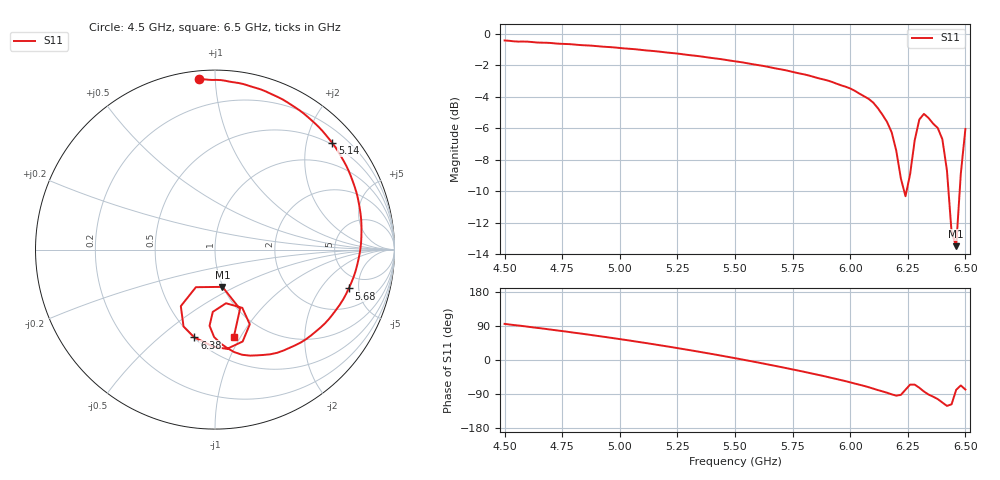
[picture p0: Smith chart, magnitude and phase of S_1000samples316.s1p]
! TOUCHSTONE file generated by CST MICROWAVE STUDIO
! Date and time: Thu Oct 27 18:08:15 2022
! Project name: L.cst
! Parameters = {Di=1.27; Epsilon_r=1.56; InnerDiameter=1.27; Length=2; Lf=10; Lg=60; OuterConductorThickness=0.2921; OuterDiameter=3.6; Wf=3; Wp=41.2; de=1.5; df=6.8; g=0.8; gx=4.03511; gy=4.3543; h=2.34; hf=1.524; px=12.6869; py=14.8479; w=9.7; wx=8.65182; wy=10.4936}
! Header version: 2018
! Port assignment regex: !\s*Touchstone port\s*([0-9]+)\s*=\s*(CST MWS port|CST DS port)\s*([0-9]+|Zmin|Zmax)\s*\(\"(.*)\"\)(\s*mode\s*([0-9]+))?.*
! Touchstone port assignment:
! Touchstone port 1 = CST MWS port 1 ("")
# GHz S DB R 50
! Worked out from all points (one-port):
!   101 points, 4.5 GHz to 6.5 GHz, reference 50 ohm
!   lowest |S11| = -13.5 dB at 6.46 GHz (marker M1), VSWR 1.54, Z = 49.7 - j21.6 ohm
!   |S11| at or under -10 dB: 6.234496 GHz to 6.244416 GHz (9.92 MHz wide, 0.159 % of centre); 6.427 GHz to 6.475 GHz (48.42 MHz wide, 0.751 % of centre)
!   S11 on the Smith chart (normalised r, x): 4.5 GHz: 0.04, +0.91; 5.14 GHz: 0.47, +2.52; 5.68 GHz: 3.56, -3.87; 6.38 GHz: 0.50, -0.66; 6.5 GHz: 0.72, -0.94
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4.5  -0.42 95.3
4.76  -0.64 75.6
5  -0.89 55.1
5.14  -1.08 42.2
5.26  -1.27 30.4
5.38  -1.49 18.0
5.5  -1.74 4.9
5.68  -2.20 -16.2
5.76  -2.45 -26.1
5.9  -2.95 -44.5
6  -3.46 -58.9
6.08  -4.13 -71.7
6.12  -4.72 -79.4
6.16  -5.59 -86.4
6.2  -7.42 -94.1
6.22  -9.19 -92.0
6.24  -10.31 -78.4
6.26  -8.91 -64.9
6.28  -6.76 -65.0
6.3  -5.44 -73.3
6.32  -5.08 -83.1
6.38  -5.98 -103.2
6.4  -6.69 -112.2
6.42  -8.68 -121.2
6.44  -12.58 -116.9
6.46  -13.48 -78.7
6.48  -8.90 -67.2
6.5  -6.04 -77.9
